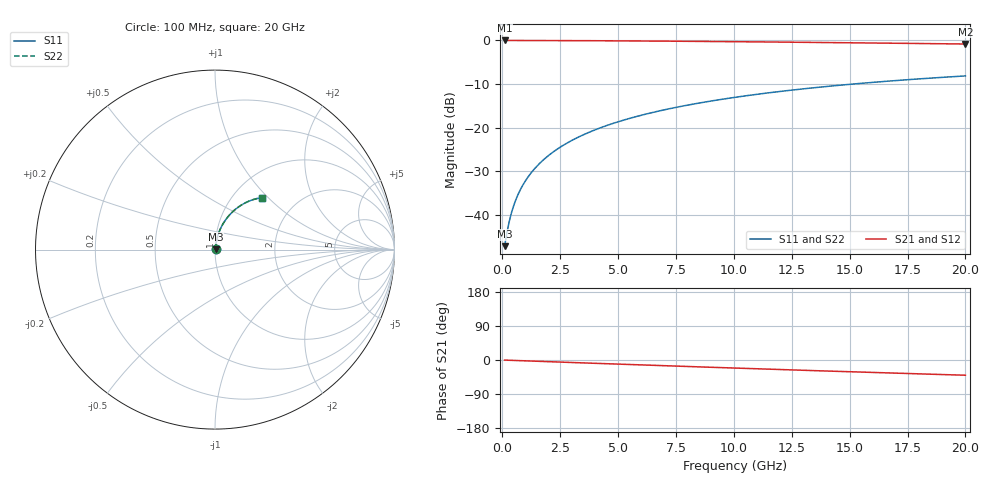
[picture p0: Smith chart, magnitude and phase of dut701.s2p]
! Touchstone file exported from HFSS 2026.1.0
!  File:  C:/ffzhzh/LocalFiles/Ansys_Project_Files/temp_train_TMRDL_701_1783154449_18472.aedt
!  Generated:  04:42:05 PM Jul  4, 2026
!  Design:  TMRDL
!  Project:  temp_train_TMRDL_701_1783154449_18472
! Variables:
!  h_bsmrdl = 2um
!  h_ox = 20um
!  h_rdl = 5um
!  h_sub = 80um
!  h_tmrdl = 4.56um
!  h_tsv = 80um
!  h_via = 3um
!  l_bsmrdl = 300um
!  l_sub = 986.81um
!  l_tmrdl = 586.81um
!  m_sub = 200um
!  pitch = 36.59um
!  r_tsv = 6um
!  s_tmrdl = 10um
!  w_bsmrdl = 18um
!  w_sub = 500um
!  w_tmrdl = 13.09um
!  x_tsv_center1 = 593.355um
!  x_tsv_center2 = 911.355um
!  x_tsv_center3 = 1511.255um
!  x_tsv_center4 = 1829.255um
!  x_tsv_center5 = 2429.155um
!  x_tsv_center6 = 2747.155um
# GHz S MA R 50.000000
! Terminal data exported
! Port[1] = TM_RDL1_1_T1
! Port[2] = TM_RDL1_1_T2
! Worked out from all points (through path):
!   200 points, 100 MHz to 20 GHz, reference 50 ohm
!   highest |S21| = -0.03 dB at 100 MHz (marker M1); lowest = -0.8 dB at 20 GHz (marker M2)
!   group delay of S21, straight-line fit = 5.58 ps
!   lowest |S11| = -47.2 dB at 100 MHz (marker M3), VSWR 1.01, Z = 50.4 + j0.254 ohm
!   |S11| at or under -10 dB: start of sweep to 15.2 GHz
!   |S22| runs from -47.2 to -8.2 dB; largest |S21 - S12| = 3.7e-15
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0.1  0.004363 35.3  0.9964 -0.2  0.9964 -0.2  0.004363 35.3
! Gamma 0 0 0 0
! Port Impedance 50 0 50 0
0.2  0.00621 53.7  0.9963 -0.5  0.9963 -0.5  0.00621 53.7
0.3  0.008374 62.8  0.9962 -0.7  0.9962 -0.7  0.008374 62.8
0.4  0.01063 67.9  0.9961 -0.9  0.9961 -0.9  0.01063 67.9
0.5  0.01292 71.1  0.996 -1.1  0.996 -1.1  0.01292 71.1
0.6  0.01522 73.3  0.9959 -1.3  0.9959 -1.3  0.01522 73.3
0.8  0.01984 76.1  0.9957 -1.8  0.9957 -1.8  0.01984 76.1
1.1  0.02682 78.3  0.9954 -2.4  0.9954 -2.4  0.02682 78.3
1.3  0.03149 79.1  0.9952 -2.9  0.9952 -2.9  0.03149 79.1
1.6  0.03851 79.7  0.9948 -3.5  0.9948 -3.5  0.03851 79.7
2.1  0.05019 79.8  0.994 -4.6  0.994 -4.6  0.05019 79.8
2.7  0.06415 79.4  0.9928 -5.9  0.9928 -5.9  0.06415 79.4
3.5  0.08257 78.3  0.9909 -7.7  0.9909 -7.7  0.08257 78.3
4.2  0.09847 77.2  0.9889 -9.2  0.9889 -9.2  0.09847 77.2
5  0.1164 75.7  0.9863 -10.9  0.9863 -10.9  0.1164 75.7
5.9  0.1361 74.0  0.9831 -12.8  0.9831 -12.8  0.1361 74.0
6.8  0.1555 72.3  0.9796 -14.7  0.9796 -14.7  0.1555 72.3
8.3  0.1868 69.4  0.9731 -17.8  0.9731 -17.8  0.1868 69.4
10.1  0.223 65.9  0.9645 -21.4  0.9645 -21.4  0.223 65.9
13.4  0.285 59.7  0.9469 -27.9  0.9469 -27.9  0.285 59.7
16.7  0.341 53.7  0.9275 -34.2  0.9275 -34.2  0.341 53.7
20  0.3907 47.9  0.9074 -40.2  0.9074 -40.2  0.3907 47.9
